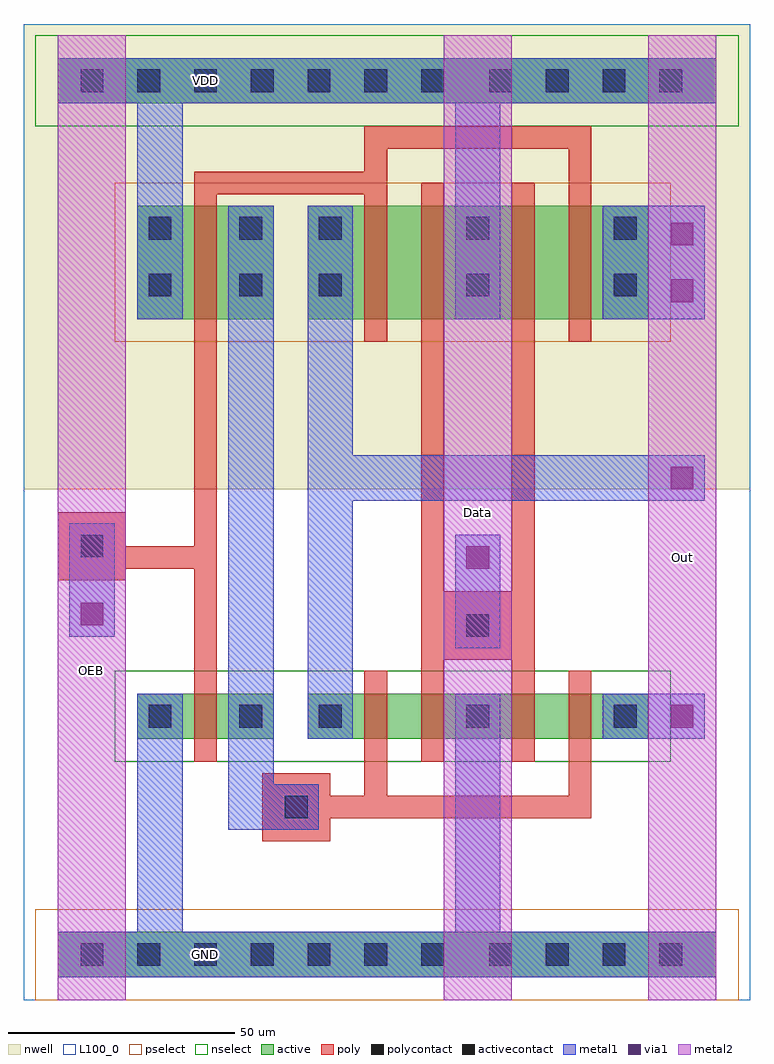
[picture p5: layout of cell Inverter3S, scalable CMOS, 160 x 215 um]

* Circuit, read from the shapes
.subckt Inverter3S Data GND OEB Out VDD
M1 n1 OEB GND GND nfet w=10u l=5u
M2 n2 n1 Out GND nfet w=10u l=5u
M3 GND Data n2 GND nfet w=10u l=5u
M4 n3 Data GND GND nfet w=10u l=5u
M5 Out n1 n3 GND nfet w=10u l=5u
M6 n1 OEB VDD VDD pfet w=25u l=5u
M7 n4 OEB Out VDD pfet w=25u l=5u
M8 VDD Data n4 VDD pfet w=25u l=5u
M9 n5 Data VDD VDD pfet w=25u l=5u
M10 Out OEB n5 VDD pfet w=25u l=5u
.ends

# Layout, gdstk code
import gdstk
lib = gdstk.Library(unit=1e-6, precision=1e-09)
def R(c, l, rs):  # rectangles x0, y0, x1, y1
    for r in rs: c.add(gdstk.rectangle(r[:2], r[2:], *l))
def A(c, l, x, y, w, h, nx, ny, dx, dy):  # array of equal rectangles
    R(c, l, [(x+i*dx, y+j*dy, x+i*dx+w, y+j*dy+h) for i in range(nx) for j in range(ny)])
nwell = (42, 0)
active = (43, 0)
pselect = (44, 0)
nselect = (45, 0)
poly = (46, 0)
polycontact = (47, 0)
activecontact = (48, 0)
metal1 = (49, 0)
via1 = (50, 0)
metal2 = (51, 0)
L100_0 = (100, 0)

inverter3s = lib.new_cell('Inverter3S')
R(inverter3s, nwell, [(0,112.5,160,215), (7.5,112.5,152.5,190), (0,190,160,215)])
R(inverter3s, active, [(7.5,5,152.5,15), (25,57.5,55,67.5), (62.5,57.5,137.5,67.5), (25,150,55,175), (62.5,150,137.5,175), (7.5,197.5,152.5,207.5)])
R(inverter3s, pselect, [(2.5,0,157.5,20), (20,145,142.5,180)])
R(inverter3s, nselect, [(20,52.5,142.5,72.5), (2.5,192.5,157.5,212.5)])
R(inverter3s, poly, [(52.5,35,67.5,40), (52.5,40,125,45), (52.5,45,67.5,50), (75,45,80,72.5), (120,45,125,72.5), (37.5,52.5,42.5,95), (87.5,52.5,92.5,75), (107.5,52.5,112.5,75), (87.5,75,112.5,90), (87.5,90,92.5,180), (107.5,90,112.5,180), (7.5,92.5,22.5,95), (7.5,95,42.5,100), (7.5,100,22.5,107.5), (37.5,100,42.5,177.5), (75,145,80,177.5), (120,145,125,187.5), (37.5,177.5,80,182.5), (75,182.5,80,187.5), (75,187.5,125,192.5)])
R(inverter3s, polycontact, [(57.5,40,62.5,45), (97.5,80,102.5,85), (12.5,97.5,17.5,102.5)])
A(inverter3s, activecontact, 12.5, 7.5, 5, 5, 7, 2, 12.5, 192.5)
A(inverter3s, activecontact, 102.5, 7.5, 5, 5, 4, 2, 12.5, 192.5)
A(inverter3s, activecontact, 65, 60, 5, 5, 3, 2, 32.5, 95)
A(inverter3s, activecontact, 65, 167.5, 5, 5, 3, 1, 32.5, 0)
R(inverter3s, activecontact, [(27.5,60,32.5,65), (47.5,60,52.5,65), (27.5,155,32.5,160), (47.5,155,52.5,160), (27.5,167.5,32.5,172.5), (47.5,167.5,52.5,172.5)])
R(inverter3s, metal1, [(7.5,5,152.5,15), (25,15,35,67.5), (95,15,105,67.5), (45,37.5,65,47.5), (45,47.5,55,175), (62.5,57.5,72.5,110), (127.5,57.5,150,67.5), (95,77.5,105,102.5), (10,80,20,105), (62.5,110,150,120), (62.5,120,72.5,175), (25,150,35,197.5), (95,150,105,197.5), (127.5,150,150,175), (7.5,197.5,152.5,207.5)])
R(inverter3s, via1, [(142.5,60,147.5,65), (12.5,82.5,17.5,87.5), (97.5,95,102.5,100), (142.5,112.5,147.5,117.5), (142.5,153.75,147.5,158.75), (142.5,166.25,147.5,171.25)])
R(inverter3s, metal2, [(7.5,0,22.5,212.5), (92.5,0,107.5,212.5), (137.5,0,152.5,212.5)])
R(inverter3s, L100_0, [(0,0,160,215)])
inverter3s.add(gdstk.Label('VDD', (40,202.5), layer=49, texttype=1))
inverter3s.add(gdstk.Label('GND', (40,10), layer=49, texttype=1))
inverter3s.add(gdstk.Label('OEB', (15,72.5), layer=51, texttype=1))
inverter3s.add(gdstk.Label('Data', (100,107.5), layer=51, texttype=1))
inverter3s.add(gdstk.Label('Out', (145,97.5), layer=51, texttype=1))

lib.write_gds('Inverter3S.gds')
